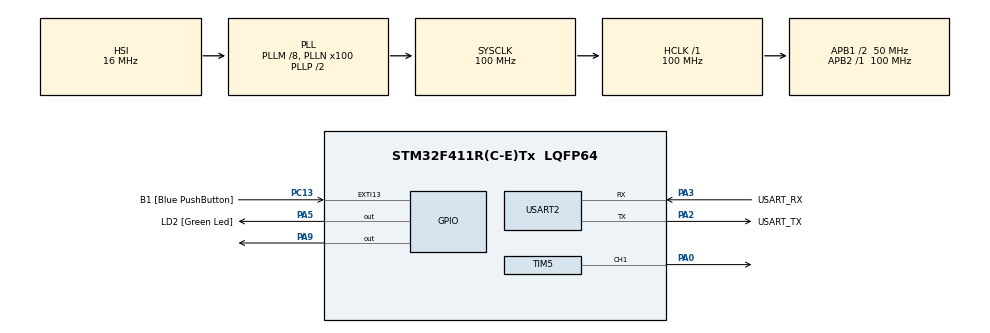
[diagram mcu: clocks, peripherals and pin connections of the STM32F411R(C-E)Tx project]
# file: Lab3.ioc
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Mcu.Family=STM32F4
Mcu.Name=STM32F411R(C-E)Tx
Mcu.Package=LQFP64
NVIC.EXTI15_10_IRQn=true\:2\:0\:true\:false\:true\:true\:true\:true
NVIC.PriorityGroup=NVIC_PRIORITYGROUP_2
NVIC.TIM2_IRQn=true\:0\:0\:false\:false\:true\:true\:true\:true
NVIC.TIM3_IRQn=true\:0\:0\:false\:false\:true\:true\:true\:true
NVIC.TIM4_IRQn=true\:0\:0\:false\:false\:true\:true\:true\:true
NVIC.USART2_IRQn=true\:0\:0\:false\:false\:true\:true\:true\:true
PA0-WKUP.Signal=S_TIM5_CH1
PA13.GPIO_Label=TMS
PA13.Mode=Serial_Wire
PA13.Signal=SYS_JTMS-SWDIO
PA14.GPIO_Label=TCK
PA14.Mode=Serial_Wire
PA14.Signal=SYS_JTCK-SWCLK
PA2.GPIO_Label=USART_TX
PA2.Mode=Asynchronous
PA2.Signal=USART2_TX
PA3.GPIO_Label=USART_RX
PA3.Mode=Asynchronous
PA3.Signal=USART2_RX
PA5.GPIO_Label=LD2 [Green Led]
PA5.Signal=GPIO_Output
PA9.Signal=GPIO_Output
PB3.GPIO_Label=SWO
PB3.Signal=SYS_JTDO-SWO
PC13-ANTI_TAMP.GPIO_Label=B1 [Blue PushButton]
PC13-ANTI_TAMP.GPIO_ModeDefaultEXTI=GPIO_MODE_IT_FALLING
PC13-ANTI_TAMP.Signal=GPXTI13
PC14-OSC32_IN.Mode=LSE-External-Oscillator
PC14-OSC32_IN.Signal=RCC_OSC32_IN
PC15-OSC32_OUT.Mode=LSE-External-Oscillator
PC15-OSC32_OUT.Signal=RCC_OSC32_OUT
PH0\ -\ OSC_IN.Mode=HSE-External-Clock-Source
PH0\ -\ OSC_IN.Signal=RCC_OSC_IN
PH1\ -\ OSC_OUT.Mode=HSE-External-Clock-Source
PH1\ -\ OSC_OUT.Signal=RCC_OSC_OUT
ProjectManager.HeapSize=0x200
ProjectManager.StackSize=0x400
ProjectManager.TargetToolchain=STM32CubeIDE
RCC.48MHZClocksFreq_Value=50000000
RCC.AHBFreq_Value=100000000
RCC.APB1CLKDivider=RCC_HCLK_DIV2
RCC.APB1Freq_Value=50000000
RCC.APB1TimFreq_Value=100000000
RCC.APB2Freq_Value=100000000
RCC.APB2TimFreq_Value=100000000
RCC.CortexFreq_Value=100000000
RCC.FLatency-AdvancedSettings=FLASH_LATENCY_3
RCC.HCLKFreq_Value=100000000
RCC.HSE_VALUE=8000000
RCC.HSI_VALUE=16000000
RCC.PLLM=8
RCC.PLLN=100
RCC.SYSCLKFreq_VALUE=100000000
RCC.SYSCLKSource=RCC_SYSCLKSOURCE_PLLCLK
RCC.VCOOutputFreq_Value=200000000
SH.S_TIM5_CH1.0=TIM5_CH1,PWM Generation1 CH1
TIM2.AutoReloadPreload=TIM_AUTORELOAD_PRELOAD_ENABLE
TIM2.Period=10000
TIM2.Prescaler=2500
TIM3.AutoReloadPreload=TIM_AUTORELOAD_PRELOAD_ENABLE
TIM3.Period=500
TIM3.Prescaler=49050
TIM4.AutoReloadPreload=TIM_AUTORELOAD_PRELOAD_ENABLE
TIM4.Period=10100
TIM4.Prescaler=4950
TIM5.AutoReloadPreload=TIM_AUTORELOAD_PRELOAD_ENABLE
TIM5.Channel-PWM\ Generation1\ CH1=TIM_CHANNEL_1
TIM5.Period=100
TIM5.Prescaler=100
TIM5.Pulse-PWM\ Generation1\ CH1=50
USART2.VirtualMode=VM_ASYNC
VP_TIM2_VS_ClockSourceINT.Mode=Internal
VP_TIM3_VS_ClockSourceINT.Mode=Internal
VP_TIM4_VS_ClockSourceINT.Mode=Internal
VP_TIM5_VS_ClockSourceINT.Mode=Internal
board=NUCLEO-F411RE

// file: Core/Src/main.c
/* USER CODE BEGIN Header */
/**
  ******************************************************************************
  * @file           : main.c
  * @brief          : Main program body
  ******************************************************************************
  * @attention
  *
  * Copyright (c) 2023 STMicroelectronics.
  * All rights reserved.
  *
  * This software is licensed under terms that can be found in the LICENSE file
  * in the root directory of this software component.
  * If no LICENSE file comes with this software, it is provided AS-IS.
  *
  ******************************************************************************
  */
/* USER CODE END Header */
#include "main.h"

TIM_HandleTypeDef htim2;
TIM_HandleTypeDef htim3;
TIM_HandleTypeDef htim4;
TIM_HandleTypeDef htim5;

UART_HandleTypeDef huart2;

void SystemClock_Config(void);
static void MX_GPIO_Init(void);
static void MX_USART2_UART_Init(void);
static void MX_TIM4_Init(void);
static void MX_TIM5_Init(void);
static void MX_TIM2_Init(void);
static void MX_TIM3_Init(void);

/* USER CODE BEGIN 0 */
	uint8_t data[10];
	int delayTime[] = {100,500,2500};
	int delayCounter = 0;
/* USER CODE END 0 */

int main(void)
{

  /* MCU Configuration--------------------------------------------------------*/

  /* Reset of all peripherals, Initializes the Flash interface and the Systick. */
  HAL_Init();

  /* Configure the system clock */
  SystemClock_Config();

  /* Initialize all configured peripherals */
  MX_GPIO_Init();
  MX_USART2_UART_Init();
  MX_TIM4_Init();
  MX_TIM5_Init();
  MX_TIM2_Init();
  MX_TIM3_Init();
  /* USER CODE BEGIN 2 */
//  HAL_UART_Receive_IT(&huart2, data, sizeof data);
//  HAL_TIM_PWM_Start(&htim5, TIM_CHANNEL_1);

  // problem 3
  HAL_TIM_Base_Start_IT(&htim2);
  HAL_TIM_Base_Start_IT(&htim3);
  HAL_TIM_Base_Start_IT(&htim4);
  /* USER CODE END 2 */

  /* Infinite loop */
  while (1)
  {

    /* USER CODE BEGIN 3 */
	  /*
	  HAL_GPIO_TogglePin(GPIOA, GPIO_PIN_5);
	  HAL_Delay(delayTime[delayCounter]);
	  */
  }
  /* USER CODE END 3 */
}

void SystemClock_Config(void)
{
  RCC_OscInitTypeDef RCC_OscInitStruct = {0};
  RCC_ClkInitTypeDef RCC_ClkInitStruct = {0};

  /** Configure the main internal regulator output voltage
  */
  __HAL_RCC_PWR_CLK_ENABLE();
  __HAL_PWR_VOLTAGESCALING_CONFIG(PWR_REGULATOR_VOLTAGE_SCALE1);

  /** Initializes the RCC Oscillators according to the specified parameters
  * in the RCC_OscInitTypeDef structure.
  */
  RCC_OscInitStruct.OscillatorType = RCC_OSCILLATORTYPE_HSI;
  RCC_OscInitStruct.HSIState = RCC_HSI_ON;
  RCC_OscInitStruct.HSICalibrationValue = RCC_HSICALIBRATION_DEFAULT;
  RCC_OscInitStruct.PLL.PLLState = RCC_PLL_ON;
  RCC_OscInitStruct.PLL.PLLSource = RCC_PLLSOURCE_HSI;
  RCC_OscInitStruct.PLL.PLLM = 8;
  RCC_OscInitStruct.PLL.PLLN = 100;
  RCC_OscInitStruct.PLL.PLLP = RCC_PLLP_DIV2;
  RCC_OscInitStruct.PLL.PLLQ = 4;
  if (HAL_RCC_OscConfig(&RCC_OscInitStruct) != HAL_OK)
  {
    Error_Handler();
  }

  /** Initializes the CPU, AHB and APB buses clocks
  */
  RCC_ClkInitStruct.ClockType = RCC_CLOCKTYPE_HCLK|RCC_CLOCKTYPE_SYSCLK
                              |RCC_CLOCKTYPE_PCLK1|RCC_CLOCKTYPE_PCLK2;
  RCC_ClkInitStruct.SYSCLKSource = RCC_SYSCLKSOURCE_PLLCLK;
  RCC_ClkInitStruct.AHBCLKDivider = RCC_SYSCLK_DIV1;
  RCC_ClkInitStruct.APB1CLKDivider = RCC_HCLK_DIV2;
  RCC_ClkInitStruct.APB2CLKDivider = RCC_HCLK_DIV1;

  if (HAL_RCC_ClockConfig(&RCC_ClkInitStruct, FLASH_LATENCY_3) != HAL_OK)
  {
    Error_Handler();
  }
}

static void MX_TIM2_Init(void)
{

  TIM_ClockConfigTypeDef sClockSourceConfig = {0};
  TIM_MasterConfigTypeDef sMasterConfig = {0};

  htim2.Instance = TIM2;
  htim2.Init.Prescaler = 2500;
  htim2.Init.CounterMode = TIM_COUNTERMODE_UP;
  htim2.Init.Period = 10000;
  htim2.Init.ClockDivision = TIM_CLOCKDIVISION_DIV1;
  htim2.Init.AutoReloadPreload = TIM_AUTORELOAD_PRELOAD_ENABLE;
  if (HAL_TIM_Base_Init(&htim2) != HAL_OK)
  {
    Error_Handler();
  }
  sClockSourceConfig.ClockSource = TIM_CLOCKSOURCE_INTERNAL;
  if (HAL_TIM_ConfigClockSource(&htim2, &sClockSourceConfig) != HAL_OK)
  {
    Error_Handler();
  }
  sMasterConfig.MasterOutputTrigger = TIM_TRGO_RESET;
  sMasterConfig.MasterSlaveMode = TIM_MASTERSLAVEMODE_DISABLE;
  if (HAL_TIMEx_MasterConfigSynchronization(&htim2, &sMasterConfig) != HAL_OK)
  {
    Error_Handler();
  }

}

static void MX_TIM3_Init(void)
{

  TIM_ClockConfigTypeDef sClockSourceConfig = {0};
  TIM_MasterConfigTypeDef sMasterConfig = {0};

  htim3.Instance = TIM3;
  htim3.Init.Prescaler = 49050;
  htim3.Init.CounterMode = TIM_COUNTERMODE_UP;
  htim3.Init.Period = 500;
  htim3.Init.ClockDivision = TIM_CLOCKDIVISION_DIV1;
  htim3.Init.AutoReloadPreload = TIM_AUTORELOAD_PRELOAD_ENABLE;
  if (HAL_TIM_Base_Init(&htim3) != HAL_OK)
  {
    Error_Handler();
  }
  sClockSourceConfig.ClockSource = TIM_CLOCKSOURCE_INTERNAL;
  if (HAL_TIM_ConfigClockSource(&htim3, &sClockSourceConfig) != HAL_OK)
  {
    Error_Handler();
  }
  sMasterConfig.MasterOutputTrigger = TIM_TRGO_RESET;
  sMasterConfig.MasterSlaveMode = TIM_MASTERSLAVEMODE_DISABLE;
  if (HAL_TIMEx_MasterConfigSynchronization(&htim3, &sMasterConfig) != HAL_OK)
  {
    Error_Handler();
  }

}

static void MX_TIM4_Init(void)
{

  TIM_ClockConfigTypeDef sClockSourceConfig = {0};
  TIM_MasterConfigTypeDef sMasterConfig = {0};

  htim4.Instance = TIM4;
  htim4.Init.Prescaler = 4950;
  htim4.Init.CounterMode = TIM_COUNTERMODE_UP;
  htim4.Init.Period = 10100;
  htim4.Init.ClockDivision = TIM_CLOCKDIVISION_DIV1;
  htim4.Init.AutoReloadPreload = TIM_AUTORELOAD_PRELOAD_ENABLE;
  if (HAL_TIM_Base_Init(&htim4) != HAL_OK)
  {
    Error_Handler();
  }
  sClockSourceConfig.ClockSource = TIM_CLOCKSOURCE_INTERNAL;
  if (HAL_TIM_ConfigClockSource(&htim4, &sClockSourceConfig) != HAL_OK)
  {
    Error_Handler();
  }
  sMasterConfig.MasterOutputTrigger = TIM_TRGO_RESET;
  sMasterConfig.MasterSlaveMode = TIM_MASTERSLAVEMODE_DISABLE;
  if (HAL_TIMEx_MasterConfigSynchronization(&htim4, &sMasterConfig) != HAL_OK)
  {
    Error_Handler();
  }

}

static void MX_TIM5_Init(void)
{

  TIM_ClockConfigTypeDef sClockSourceConfig = {0};
  TIM_MasterConfigTypeDef sMasterConfig = {0};
  TIM_OC_InitTypeDef sConfigOC = {0};

  htim5.Instance = TIM5;
  htim5.Init.Prescaler = 100;
  htim5.Init.CounterMode = TIM_COUNTERMODE_UP;
  htim5.Init.Period = 100;
  htim5.Init.ClockDivision = TIM_CLOCKDIVISION_DIV1;
  htim5.Init.AutoReloadPreload = TIM_AUTORELOAD_PRELOAD_ENABLE;
  if (HAL_TIM_Base_Init(&htim5) != HAL_OK)
  {
    Error_Handler();
  }
  sClockSourceConfig.ClockSource = TIM_CLOCKSOURCE_INTERNAL;
  if (HAL_TIM_ConfigClockSource(&htim5, &sClockSourceConfig) != HAL_OK)
  {
    Error_Handler();
  }
  if (HAL_TIM_PWM_Init(&htim5) != HAL_OK)
  {
    Error_Handler();
  }
  sMasterConfig.MasterOutputTrigger = TIM_TRGO_RESET;
  sMasterConfig.MasterSlaveMode = TIM_MASTERSLAVEMODE_DISABLE;
  if (HAL_TIMEx_MasterConfigSynchronization(&htim5, &sMasterConfig) != HAL_OK)
  {
    Error_Handler();
  }
  sConfigOC.OCMode = TIM_OCMODE_PWM1;
  sConfigOC.Pulse = 50;
  sConfigOC.OCPolarity = TIM_OCPOLARITY_HIGH;
  sConfigOC.OCFastMode = TIM_OCFAST_DISABLE;
  if (HAL_TIM_PWM_ConfigChannel(&htim5, &sConfigOC, TIM_CHANNEL_1) != HAL_OK)
  {
    Error_Handler();
  }
  HAL_TIM_MspPostInit(&htim5);

}

static void MX_USART2_UART_Init(void)
{

  huart2.Instance = USART2;
  huart2.Init.BaudRate = 115200;
  huart2.Init.WordLength = UART_WORDLENGTH_8B;
  huart2.Init.StopBits = UART_STOPBITS_1;
  huart2.Init.Parity = UART_PARITY_NONE;
  huart2.Init.Mode = UART_MODE_TX_RX;
  huart2.Init.HwFlowCtl = UART_HWCONTROL_NONE;
  huart2.Init.OverSampling = UART_OVERSAMPLING_16;
  if (HAL_UART_Init(&huart2) != HAL_OK)
  {
    Error_Handler();
  }

}

static void MX_GPIO_Init(void)
{
  GPIO_InitTypeDef GPIO_InitStruct = {0};

  /* GPIO Ports Clock Enable */
  __HAL_RCC_GPIOC_CLK_ENABLE();
  __HAL_RCC_GPIOH_CLK_ENABLE();
  __HAL_RCC_GPIOA_CLK_ENABLE();
  __HAL_RCC_GPIOB_CLK_ENABLE();

  /*Configure GPIO pin Output Level */
  HAL_GPIO_WritePin(GPIOA, LD2_Pin|GPIO_PIN_9, GPIO_PIN_RESET);

  /*Configure GPIO pin : B1_Pin */
  GPIO_InitStruct.Pin = B1_Pin;
  GPIO_InitStruct.Mode = GPIO_MODE_IT_FALLING;
  GPIO_InitStruct.Pull = GPIO_NOPULL;
  HAL_GPIO_Init(B1_GPIO_Port, &GPIO_InitStruct);

  /*Configure GPIO pins : LD2_Pin PA9 */
  GPIO_InitStruct.Pin = LD2_Pin|GPIO_PIN_9;
  GPIO_InitStruct.Mode = GPIO_MODE_OUTPUT_PP;
  GPIO_InitStruct.Pull = GPIO_NOPULL;
  GPIO_InitStruct.Speed = GPIO_SPEED_FREQ_LOW;
  HAL_GPIO_Init(GPIOA, &GPIO_InitStruct);

  /* EXTI interrupt init*/
  HAL_NVIC_SetPriority(EXTI15_10_IRQn, 2, 0);
  HAL_NVIC_EnableIRQ(EXTI15_10_IRQn);

}

/* USER CODE BEGIN 4 */

/* problem 4
void HAL_UART_RxCpltCallback(UART_HandleTypeDef *huart)
{
    HAL_UART_Transmit(&huart2, data, sizeof data, 100);
    HAL_UART_Transmit(&huart2, "\r\n", 2, 100);
    HAL_UART_Receive_IT(&huart2, data, sizeof data);
}
*/

/* problem 1 */
void HAL_GPIO_EXTI_Callback(uint16_t GPIO_Pin){
	if(GPIO_Pin == GPIO_PIN_13){
		delayCounter++;
		delayCounter%=3;
	}else{
		__NOP();
	}
}

// problem 3
int greenCount = 0,redCount = 0;
void HAL_TIM_PeriodElapsedCallback(TIM_HandleTypeDef* htim){
	if(htim->Instance == TIM2){
		HAL_GPIO_TogglePin(GPIOA, GPIO_PIN_5);
		greenCount++;
	}
	if(htim->Instance == TIM3){
		HAL_GPIO_TogglePin(GPIOA, GPIO_PIN_9);
		redCount++;
	}
	if(htim->Instance == TIM4){
		HAL_UART_Transmit(&huart2, "Green: ", 7, 100);
		HAL_UART_Transmit(&huart2, itoa(greenCount, data, 10), 3, 100);
		HAL_UART_Transmit(&huart2, "\tRed: ", 6, 100);
		HAL_UART_Transmit(&huart2, itoa(redCount, data, 10), 3, 100);
		HAL_UART_Transmit(&huart2, "\r\n", 2, 100);
	}
}
/* USER CODE END 4 */

void Error_Handler(void)
{
  __disable_irq();
  while (1)
  {
  }
}
